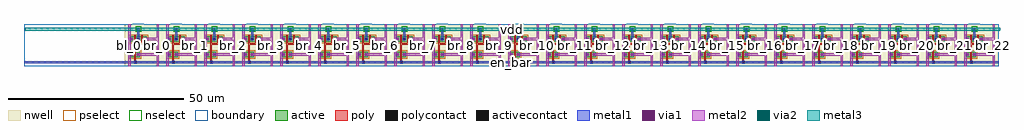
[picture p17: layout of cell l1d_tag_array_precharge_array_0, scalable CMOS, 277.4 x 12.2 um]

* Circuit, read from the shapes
.subckt l1d_tag_array_precharge_array_0 bl_0 bl_1 bl_10 bl_11 bl_12 bl_13 bl_14 bl_15 bl_16 bl_17 bl_18 bl_19 bl_2 bl_20 bl_21 bl_22 bl_3 bl_4 bl_5 bl_6 bl_7 bl_8 bl_9 br_0 br_1 br_10 br_11 br_12 br_13 br_14 br_15 br_16 br_17 br_18 br_19 br_2 br_20 br_21 br_22 br_3 br_4 br_5 br_6 br_7 br_8 br_9 en_bar vdd
M1 br_0 en_bar bl_0 vdd pfet w=1.6u l=0.4u
M2 vdd en_bar bl_0 vdd pfet w=1.6u l=0.4u
M3 br_0 en_bar vdd vdd pfet w=1.6u l=0.4u
M4 br_1 en_bar bl_1 vdd pfet w=1.6u l=0.4u
M5 vdd en_bar bl_1 vdd pfet w=1.6u l=0.4u
M6 br_1 en_bar vdd vdd pfet w=1.6u l=0.4u
M7 br_2 en_bar bl_2 vdd pfet w=1.6u l=0.4u
M8 vdd en_bar bl_2 vdd pfet w=1.6u l=0.4u
M9 br_2 en_bar vdd vdd pfet w=1.6u l=0.4u
M10 br_3 en_bar bl_3 vdd pfet w=1.6u l=0.4u
M11 vdd en_bar bl_3 vdd pfet w=1.6u l=0.4u
M12 br_3 en_bar vdd vdd pfet w=1.6u l=0.4u
M13 br_4 en_bar bl_4 vdd pfet w=1.6u l=0.4u
M14 vdd en_bar bl_4 vdd pfet w=1.6u l=0.4u
M15 br_4 en_bar vdd vdd pfet w=1.6u l=0.4u
M16 br_5 en_bar bl_5 vdd pfet w=1.6u l=0.4u
M17 vdd en_bar bl_5 vdd pfet w=1.6u l=0.4u
M18 br_5 en_bar vdd vdd pfet w=1.6u l=0.4u
M19 br_6 en_bar bl_6 vdd pfet w=1.6u l=0.4u
M20 vdd en_bar bl_6 vdd pfet w=1.6u l=0.4u
M21 br_6 en_bar vdd vdd pfet w=1.6u l=0.4u
M22 br_7 en_bar bl_7 vdd pfet w=1.6u l=0.4u
M23 vdd en_bar bl_7 vdd pfet w=1.6u l=0.4u
M24 br_7 en_bar vdd vdd pfet w=1.6u l=0.4u
M25 br_8 en_bar bl_8 vdd pfet w=1.6u l=0.4u
M26 vdd en_bar bl_8 vdd pfet w=1.6u l=0.4u
M27 br_8 en_bar vdd vdd pfet w=1.6u l=0.4u
M28 br_9 en_bar bl_9 vdd pfet w=1.6u l=0.4u
M29 vdd en_bar bl_9 vdd pfet w=1.6u l=0.4u
M30 br_9 en_bar vdd vdd pfet w=1.6u l=0.4u
M31 br_10 en_bar bl_10 vdd pfet w=1.6u l=0.4u
M32 vdd en_bar bl_10 vdd pfet w=1.6u l=0.4u
M33 br_10 en_bar vdd vdd pfet w=1.6u l=0.4u
M34 br_11 en_bar bl_11 vdd pfet w=1.6u l=0.4u
M35 vdd en_bar bl_11 vdd pfet w=1.6u l=0.4u
M36 br_11 en_bar vdd vdd pfet w=1.6u l=0.4u
M37 br_12 en_bar bl_12 vdd pfet w=1.6u l=0.4u
M38 vdd en_bar bl_12 vdd pfet w=1.6u l=0.4u
M39 br_12 en_bar vdd vdd pfet w=1.6u l=0.4u
M40 br_13 en_bar bl_13 vdd pfet w=1.6u l=0.4u
M41 vdd en_bar bl_13 vdd pfet w=1.6u l=0.4u
M42 br_13 en_bar vdd vdd pfet w=1.6u l=0.4u
M43 br_14 en_bar bl_14 vdd pfet w=1.6u l=0.4u
M44 vdd en_bar bl_14 vdd pfet w=1.6u l=0.4u
M45 br_14 en_bar vdd vdd pfet w=1.6u l=0.4u
M46 br_15 en_bar bl_15 vdd pfet w=1.6u l=0.4u
M47 vdd en_bar bl_15 vdd pfet w=1.6u l=0.4u
M48 br_15 en_bar vdd vdd pfet w=1.6u l=0.4u
M49 br_16 en_bar bl_16 vdd pfet w=1.6u l=0.4u
M50 vdd en_bar bl_16 vdd pfet w=1.6u l=0.4u
M51 br_16 en_bar vdd vdd pfet w=1.6u l=0.4u
M52 br_17 en_bar bl_17 vdd pfet w=1.6u l=0.4u
M53 vdd en_bar bl_17 vdd pfet w=1.6u l=0.4u
M54 br_17 en_bar vdd vdd pfet w=1.6u l=0.4u
M55 br_18 en_bar bl_18 vdd pfet w=1.6u l=0.4u
M56 vdd en_bar bl_18 vdd pfet w=1.6u l=0.4u
M57 br_18 en_bar vdd vdd pfet w=1.6u l=0.4u
M58 br_19 en_bar bl_19 vdd pfet w=1.6u l=0.4u
M59 vdd en_bar bl_19 vdd pfet w=1.6u l=0.4u
M60 br_19 en_bar vdd vdd pfet w=1.6u l=0.4u
M61 br_20 en_bar bl_20 vdd pfet w=1.6u l=0.4u
M62 vdd en_bar bl_20 vdd pfet w=1.6u l=0.4u
M63 br_20 en_bar vdd vdd pfet w=1.6u l=0.4u
M64 br_21 en_bar bl_21 vdd pfet w=1.6u l=0.4u
M65 vdd en_bar bl_21 vdd pfet w=1.6u l=0.4u
M66 br_21 en_bar vdd vdd pfet w=1.6u l=0.4u
M67 br_22 en_bar bl_22 vdd pfet w=1.6u l=0.4u
M68 vdd en_bar bl_22 vdd pfet w=1.6u l=0.4u
M69 br_22 en_bar vdd vdd pfet w=1.6u l=0.4u
.ends

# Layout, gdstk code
import gdstk
lib = gdstk.Library(unit=1e-6, precision=1e-09)
def R(c, l, rs):  # rectangles x0, y0, x1, y1
    for r in rs: c.add(gdstk.rectangle(r[:2], r[2:], *l))
nwell = (42, 0)
active = (43, 0)
pselect = (44, 0)
nselect = (45, 0)
poly = (46, 0)
polycontact = (47, 0)
activecontact = (48, 0)
metal1 = (49, 0)
via1 = (50, 0)
metal2 = (51, 0)
via2 = (61, 0)
metal3 = (62, 0)
boundary = (63, 0)

l1d_tag_array_contact_11 = lib.new_cell('l1d_tag_array_contact_11')
R(l1d_tag_array_contact_11, nwell, [(-1.2,-1.2,2,2)])
R(l1d_tag_array_contact_11, active, [(0,0,0.8,0.8)])
R(l1d_tag_array_contact_11, pselect, [(-0.4,-0.4,1.2,1.2)])
R(l1d_tag_array_contact_11, activecontact, [(0.2,0.2,0.6,0.6)])
R(l1d_tag_array_contact_11, metal1, [(0,0,0.8,0.8)])
R(l1d_tag_array_contact_11, boundary, [(-1.2,-1.2,2,2)])

l1d_tag_array_pmos_m1_w1 = lib.new_cell('l1d_tag_array_pmos_m1_w1_600_sm1_dm1')
R(l1d_tag_array_pmos_m1_w1, nwell, [(-1.2,-1.2,4,2.8)])
R(l1d_tag_array_pmos_m1_w1, active, [(0,0,2.8,1.6)])
R(l1d_tag_array_pmos_m1_w1, pselect, [(-0.4,-0.4,3.2,2)])
R(l1d_tag_array_pmos_m1_w1, poly, [(1.2,-0.4,1.6,2), (1.2,-0.4,1.6,2)])
R(l1d_tag_array_pmos_m1_w1, metal1, [(0,0.4,0.8,1.2), (2,0.4,2.8,1.2)])
R(l1d_tag_array_pmos_m1_w1, boundary, [(-1.2,-1.2,4,2.8)])
l1d_tag_array_pmos_m1_w1.add(gdstk.Reference(l1d_tag_array_contact_11, (0,0.4)))
l1d_tag_array_pmos_m1_w1.add(gdstk.Reference(l1d_tag_array_contact_11, (2,0.4)))
l1d_tag_array_pmos_m1_w1.add(gdstk.Label('G', (1.4,0.8), layer=46, texttype=0))
l1d_tag_array_pmos_m1_w1.add(gdstk.Label('S', (0.4,0.8), layer=49, texttype=0))
l1d_tag_array_pmos_m1_w1.add(gdstk.Label('D', (2.4,0.8), layer=49, texttype=0))

l1d_tag_array_contact_14 = lib.new_cell('l1d_tag_array_contact_14')
R(l1d_tag_array_contact_14, poly, [(0,0,0.8,0.8)])
R(l1d_tag_array_contact_14, polycontact, [(0.2,0.2,0.6,0.6)])
R(l1d_tag_array_contact_14, metal1, [(0,0,0.8,0.8)])
R(l1d_tag_array_contact_14, boundary, [(0,0,0.8,0.8)])

l1d_tag_array_contact_22 = lib.new_cell('l1d_tag_array_contact_22')
R(l1d_tag_array_contact_22, nwell, [(-1.2,-1.2,2,2)])
R(l1d_tag_array_contact_22, active, [(0,0,0.8,0.8)])
R(l1d_tag_array_contact_22, nselect, [(-0.4,-0.4,1.2,1.2)])
R(l1d_tag_array_contact_22, activecontact, [(0.2,0.2,0.6,0.6)])
R(l1d_tag_array_contact_22, metal1, [(0,0,0.8,0.8)])
R(l1d_tag_array_contact_22, boundary, [(-1.2,-1.2,2,2)])

l1d_tag_array_contact_17 = lib.new_cell('l1d_tag_array_contact_17')
R(l1d_tag_array_contact_17, metal1, [(0,0,0.8,0.8)])
R(l1d_tag_array_contact_17, via1, [(0.2,0.2,0.6,0.6)])
R(l1d_tag_array_contact_17, metal2, [(0,0,0.8,0.8)])
R(l1d_tag_array_contact_17, boundary, [(0,0,0.8,0.8)])

l1d_tag_array_contact_23 = lib.new_cell('l1d_tag_array_contact_23')
R(l1d_tag_array_contact_23, metal1, [(0,0,0.8,0.8)])
R(l1d_tag_array_contact_23, via1, [(0.2,0.2,0.6,0.6)])
R(l1d_tag_array_contact_23, metal2, [(0,0,0.8,0.8)])
R(l1d_tag_array_contact_23, boundary, [(0,0,0.8,0.8)])

l1d_tag_array_precharge_ = lib.new_cell('l1d_tag_array_precharge_1')
R(l1d_tag_array_precharge_, nwell, [(0,0,10.8,12)])
R(l1d_tag_array_precharge_, poly, [(2.7,1,3.1,1.4), (2.9,1,3.1,1.4), (2.7,1.2,3.1,2.2), (2.7,4.6,3.1,6.6), (2.7,6.2,5.1,6.6)])
R(l1d_tag_array_precharge_, metal1, [(0,0.9,10.8,1.5), (3.6,7.8,4.2,10.6), (3.6,10.3,4.2,10.9)])
R(l1d_tag_array_precharge_, metal2, [(1.1,0,1.7,12), (1.1,0,1.7,12), (9.1,0,9.7,12), (9.1,0,9.7,12), (1.4,3,1.9,3.8), (3.9,3,9.4,3.8), (1.4,7.4,1.9,8.2), (5.9,7.4,9.4,8.2)])
R(l1d_tag_array_precharge_, boundary, [(0,0,10.8,12)])
l1d_tag_array_precharge_.add(gdstk.Reference(l1d_tag_array_pmos_m1_w1, (1.5,2.6)))
l1d_tag_array_precharge_.add(gdstk.Reference(l1d_tag_array_pmos_m1_w1, (1.5,7)))
l1d_tag_array_precharge_.add(gdstk.Reference(l1d_tag_array_pmos_m1_w1, (3.5,7)))
l1d_tag_array_precharge_.add(gdstk.Reference(l1d_tag_array_contact_14, (2.7,0.8)))
l1d_tag_array_precharge_.add(gdstk.Reference(l1d_tag_array_contact_22, (3.5,10.2)))
l1d_tag_array_precharge_.add(gdstk.Reference(l1d_tag_array_contact_17, (3.5,10.2)))
l1d_tag_array_precharge_.add(gdstk.Reference(l1d_tag_array_contact_23, (1.5,3)))
l1d_tag_array_precharge_.add(gdstk.Reference(l1d_tag_array_contact_23, (3.5,3)))
l1d_tag_array_precharge_.add(gdstk.Reference(l1d_tag_array_contact_23, (1.5,7.4)))
l1d_tag_array_precharge_.add(gdstk.Reference(l1d_tag_array_contact_23, (5.5,7.4)))
l1d_tag_array_precharge_.add(gdstk.Label('en_bar', (5.4,1.2), layer=49, texttype=0))
l1d_tag_array_precharge_.add(gdstk.Label('vdd', (3.9,10.6), layer=49, texttype=0))
l1d_tag_array_precharge_.add(gdstk.Label('bl', (1.4,6), layer=51, texttype=0))
l1d_tag_array_precharge_.add(gdstk.Label('br', (9.4,6), layer=51, texttype=0))

l1d_tag_array_contact_18 = lib.new_cell('l1d_tag_array_contact_18')
R(l1d_tag_array_contact_18, metal2, [(0,0,0.8,0.8)])
R(l1d_tag_array_contact_18, via2, [(0.2,0.2,0.6,0.6)])
R(l1d_tag_array_contact_18, metal3, [(0,0,0.8,0.8)])
R(l1d_tag_array_contact_18, boundary, [(0,0,0.8,0.8)])

c_l1d_tag_array_precharge_ = lib.new_cell('l1d_tag_array_precharge_array_0')
R(c_l1d_tag_array_precharge_, metal1, [(0,0.9,277,1.5), (33.7,0.9,34.3,1.5), (33.7,0.9,34.3,1.5), (44.5,0.9,45.1,1.5), (44.5,0.9,45.1,1.5), (55.3,0.9,55.9,1.5), (55.3,0.9,55.9,1.5), (66.1,0.9,66.7,1.5), (66.1,0.9,66.7,1.5), (76.9,0.9,77.5,1.5), (76.9,0.9,77.5,1.5), (87.7,0.9,88.3,1.5), (87.7,0.9,88.3,1.5), (98.5,0.9,99.1,1.5), (98.5,0.9,99.1,1.5), (109.3,0.9,109.9,1.5), (109.3,0.9,109.9,1.5), (120.1,0.9,120.7,1.5), (120.1,0.9,120.7,1.5), (130.9,0.9,131.5,1.5), (130.9,0.9,131.5,1.5), (141.7,0.9,142.3,1.5), (141.7,0.9,142.3,1.5), (152.5,0.9,153.1,1.5), (152.5,0.9,153.1,1.5), (163.3,0.9,163.9,1.5), (163.3,0.9,163.9,1.5), (174.1,0.9,174.7,1.5), (174.1,0.9,174.7,1.5), (184.9,0.9,185.5,1.5), (184.9,0.9,185.5,1.5), (195.7,0.9,196.3,1.5), (195.7,0.9,196.3,1.5), (206.5,0.9,207.1,1.5), (206.5,0.9,207.1,1.5), (217.3,0.9,217.9,1.5), (217.3,0.9,217.9,1.5), (228.1,0.9,228.7,1.5), (228.1,0.9,228.7,1.5), (238.9,0.9,239.5,1.5), (238.9,0.9,239.5,1.5), (249.7,0.9,250.3,1.5), (249.7,0.9,250.3,1.5), (260.5,0.9,261.1,1.5), (260.5,0.9,261.1,1.5), (271.3,0.9,271.9,1.5), (271.3,0.9,271.9,1.5)])
R(c_l1d_tag_array_precharge_, metal2, [(29.7,0,30.3,12), (37.7,0,38.3,12), (40.5,0,41.1,12), (48.5,0,49.1,12), (51.3,0,51.9,12), (59.3,0,59.9,12), (62.1,0,62.7,12), (70.1,0,70.7,12), (72.9,0,73.5,12), (80.9,0,81.5,12), (83.7,0,84.3,12), (91.7,0,92.3,12), (94.5,0,95.1,12), (102.5,0,103.1,12), (105.3,0,105.9,12), (113.3,0,113.9,12), (116.1,0,116.7,12), (124.1,0,124.7,12), (126.9,0,127.5,12), (134.9,0,135.5,12), (137.7,0,138.3,12), (145.7,0,146.3,12), (148.5,0,149.1,12), (156.5,0,157.1,12), (159.3,0,159.9,12), (167.3,0,167.9,12), (170.1,0,170.7,12), (178.1,0,178.7,12), (180.9,0,181.5,12), (188.9,0,189.5,12), (191.7,0,192.3,12), (199.7,0,200.3,12), (202.5,0,203.1,12), (210.5,0,211.1,12), (213.3,0,213.9,12), (221.3,0,221.9,12), (224.1,0,224.7,12), (232.1,0,232.7,12), (234.9,0,235.5,12), (242.9,0,243.5,12), (245.7,0,246.3,12), (253.7,0,254.3,12), (256.5,0,257.1,12), (264.5,0,265.1,12), (267.3,0,267.9,12), (275.3,0,275.9,12)])
R(c_l1d_tag_array_precharge_, metal3, [(0.4,10.2,277.4,11)])
R(c_l1d_tag_array_precharge_, boundary, [(0,0,277,12)])
c_l1d_tag_array_precharge_.add(gdstk.Reference(l1d_tag_array_precharge_, (28.6,0)))
c_l1d_tag_array_precharge_.add(gdstk.Reference(l1d_tag_array_precharge_, (39.4,0)))
c_l1d_tag_array_precharge_.add(gdstk.Reference(l1d_tag_array_precharge_, (50.2,0)))
c_l1d_tag_array_precharge_.add(gdstk.Reference(l1d_tag_array_precharge_, (61,0)))
c_l1d_tag_array_precharge_.add(gdstk.Reference(l1d_tag_array_precharge_, (71.8,0)))
c_l1d_tag_array_precharge_.add(gdstk.Reference(l1d_tag_array_precharge_, (82.6,0)))
c_l1d_tag_array_precharge_.add(gdstk.Reference(l1d_tag_array_precharge_, (93.4,0)))
c_l1d_tag_array_precharge_.add(gdstk.Reference(l1d_tag_array_precharge_, (104.2,0)))
c_l1d_tag_array_precharge_.add(gdstk.Reference(l1d_tag_array_precharge_, (115,0)))
c_l1d_tag_array_precharge_.add(gdstk.Reference(l1d_tag_array_precharge_, (125.8,0)))
c_l1d_tag_array_precharge_.add(gdstk.Reference(l1d_tag_array_precharge_, (136.6,0)))
c_l1d_tag_array_precharge_.add(gdstk.Reference(l1d_tag_array_precharge_, (147.4,0)))
c_l1d_tag_array_precharge_.add(gdstk.Reference(l1d_tag_array_precharge_, (158.2,0)))
c_l1d_tag_array_precharge_.add(gdstk.Reference(l1d_tag_array_precharge_, (169,0)))
c_l1d_tag_array_precharge_.add(gdstk.Reference(l1d_tag_array_precharge_, (179.8,0)))
c_l1d_tag_array_precharge_.add(gdstk.Reference(l1d_tag_array_precharge_, (190.6,0)))
c_l1d_tag_array_precharge_.add(gdstk.Reference(l1d_tag_array_precharge_, (201.4,0)))
c_l1d_tag_array_precharge_.add(gdstk.Reference(l1d_tag_array_precharge_, (212.2,0)))
c_l1d_tag_array_precharge_.add(gdstk.Reference(l1d_tag_array_precharge_, (223,0)))
c_l1d_tag_array_precharge_.add(gdstk.Reference(l1d_tag_array_precharge_, (233.8,0)))
c_l1d_tag_array_precharge_.add(gdstk.Reference(l1d_tag_array_precharge_, (244.6,0)))
c_l1d_tag_array_precharge_.add(gdstk.Reference(l1d_tag_array_precharge_, (255.4,0)))
c_l1d_tag_array_precharge_.add(gdstk.Reference(l1d_tag_array_precharge_, (266.2,0)))
c_l1d_tag_array_precharge_.add(gdstk.Reference(l1d_tag_array_contact_17, (32.1,10.2)))
c_l1d_tag_array_precharge_.add(gdstk.Reference(l1d_tag_array_contact_18, (32.1,10.2)))
c_l1d_tag_array_precharge_.add(gdstk.Reference(l1d_tag_array_contact_17, (42.9,10.2)))
c_l1d_tag_array_precharge_.add(gdstk.Reference(l1d_tag_array_contact_18, (42.9,10.2)))
c_l1d_tag_array_precharge_.add(gdstk.Reference(l1d_tag_array_contact_17, (53.7,10.2)))
c_l1d_tag_array_precharge_.add(gdstk.Reference(l1d_tag_array_contact_18, (53.7,10.2)))
c_l1d_tag_array_precharge_.add(gdstk.Reference(l1d_tag_array_contact_17, (64.5,10.2)))
c_l1d_tag_array_precharge_.add(gdstk.Reference(l1d_tag_array_contact_18, (64.5,10.2)))
c_l1d_tag_array_precharge_.add(gdstk.Reference(l1d_tag_array_contact_17, (75.3,10.2)))
c_l1d_tag_array_precharge_.add(gdstk.Reference(l1d_tag_array_contact_18, (75.3,10.2)))
c_l1d_tag_array_precharge_.add(gdstk.Reference(l1d_tag_array_contact_17, (86.1,10.2)))
c_l1d_tag_array_precharge_.add(gdstk.Reference(l1d_tag_array_contact_18, (86.1,10.2)))
c_l1d_tag_array_precharge_.add(gdstk.Reference(l1d_tag_array_contact_17, (96.9,10.2)))
c_l1d_tag_array_precharge_.add(gdstk.Reference(l1d_tag_array_contact_18, (96.9,10.2)))
c_l1d_tag_array_precharge_.add(gdstk.Reference(l1d_tag_array_contact_17, (107.7,10.2)))
c_l1d_tag_array_precharge_.add(gdstk.Reference(l1d_tag_array_contact_18, (107.7,10.2)))
c_l1d_tag_array_precharge_.add(gdstk.Reference(l1d_tag_array_contact_17, (118.5,10.2)))
c_l1d_tag_array_precharge_.add(gdstk.Reference(l1d_tag_array_contact_18, (118.5,10.2)))
c_l1d_tag_array_precharge_.add(gdstk.Reference(l1d_tag_array_contact_17, (129.3,10.2)))
c_l1d_tag_array_precharge_.add(gdstk.Reference(l1d_tag_array_contact_18, (129.3,10.2)))
c_l1d_tag_array_precharge_.add(gdstk.Reference(l1d_tag_array_contact_17, (140.1,10.2)))
c_l1d_tag_array_precharge_.add(gdstk.Reference(l1d_tag_array_contact_18, (140.1,10.2)))
c_l1d_tag_array_precharge_.add(gdstk.Reference(l1d_tag_array_contact_17, (150.9,10.2)))
c_l1d_tag_array_precharge_.add(gdstk.Reference(l1d_tag_array_contact_18, (150.9,10.2)))
c_l1d_tag_array_precharge_.add(gdstk.Reference(l1d_tag_array_contact_17, (161.7,10.2)))
c_l1d_tag_array_precharge_.add(gdstk.Reference(l1d_tag_array_contact_18, (161.7,10.2)))
c_l1d_tag_array_precharge_.add(gdstk.Reference(l1d_tag_array_contact_17, (172.5,10.2)))
c_l1d_tag_array_precharge_.add(gdstk.Reference(l1d_tag_array_contact_18, (172.5,10.2)))
c_l1d_tag_array_precharge_.add(gdstk.Reference(l1d_tag_array_contact_17, (183.3,10.2)))
c_l1d_tag_array_precharge_.add(gdstk.Reference(l1d_tag_array_contact_18, (183.3,10.2)))
c_l1d_tag_array_precharge_.add(gdstk.Reference(l1d_tag_array_contact_17, (194.1,10.2)))
c_l1d_tag_array_precharge_.add(gdstk.Reference(l1d_tag_array_contact_18, (194.1,10.2)))
c_l1d_tag_array_precharge_.add(gdstk.Reference(l1d_tag_array_contact_17, (204.9,10.2)))
c_l1d_tag_array_precharge_.add(gdstk.Reference(l1d_tag_array_contact_18, (204.9,10.2)))
c_l1d_tag_array_precharge_.add(gdstk.Reference(l1d_tag_array_contact_17, (215.7,10.2)))
c_l1d_tag_array_precharge_.add(gdstk.Reference(l1d_tag_array_contact_18, (215.7,10.2)))
c_l1d_tag_array_precharge_.add(gdstk.Reference(l1d_tag_array_contact_17, (226.5,10.2)))
c_l1d_tag_array_precharge_.add(gdstk.Reference(l1d_tag_array_contact_18, (226.5,10.2)))
c_l1d_tag_array_precharge_.add(gdstk.Reference(l1d_tag_array_contact_17, (237.3,10.2)))
c_l1d_tag_array_precharge_.add(gdstk.Reference(l1d_tag_array_contact_18, (237.3,10.2)))
c_l1d_tag_array_precharge_.add(gdstk.Reference(l1d_tag_array_contact_17, (248.1,10.2)))
c_l1d_tag_array_precharge_.add(gdstk.Reference(l1d_tag_array_contact_18, (248.1,10.2)))
c_l1d_tag_array_precharge_.add(gdstk.Reference(l1d_tag_array_contact_17, (258.9,10.2)))
c_l1d_tag_array_precharge_.add(gdstk.Reference(l1d_tag_array_contact_18, (258.9,10.2)))
c_l1d_tag_array_precharge_.add(gdstk.Reference(l1d_tag_array_contact_17, (269.7,10.2)))
c_l1d_tag_array_precharge_.add(gdstk.Reference(l1d_tag_array_contact_18, (269.7,10.2)))
c_l1d_tag_array_precharge_.add(gdstk.Label('en_bar', (138.5,1.2), layer=49, texttype=0))
c_l1d_tag_array_precharge_.add(gdstk.Label('bl_0', (30,6), layer=51, texttype=0))
c_l1d_tag_array_precharge_.add(gdstk.Label('br_0', (38,6), layer=51, texttype=0))
c_l1d_tag_array_precharge_.add(gdstk.Label('bl_1', (40.8,6), layer=51, texttype=0))
c_l1d_tag_array_precharge_.add(gdstk.Label('br_1', (48.8,6), layer=51, texttype=0))
c_l1d_tag_array_precharge_.add(gdstk.Label('bl_2', (51.6,6), layer=51, texttype=0))
c_l1d_tag_array_precharge_.add(gdstk.Label('br_2', (59.6,6), layer=51, texttype=0))
c_l1d_tag_array_precharge_.add(gdstk.Label('bl_3', (62.4,6), layer=51, texttype=0))
c_l1d_tag_array_precharge_.add(gdstk.Label('br_3', (70.4,6), layer=51, texttype=0))
c_l1d_tag_array_precharge_.add(gdstk.Label('bl_4', (73.2,6), layer=51, texttype=0))
c_l1d_tag_array_precharge_.add(gdstk.Label('br_4', (81.2,6), layer=51, texttype=0))
c_l1d_tag_array_precharge_.add(gdstk.Label('bl_5', (84,6), layer=51, texttype=0))
c_l1d_tag_array_precharge_.add(gdstk.Label('br_5', (92,6), layer=51, texttype=0))
c_l1d_tag_array_precharge_.add(gdstk.Label('bl_6', (94.8,6), layer=51, texttype=0))
c_l1d_tag_array_precharge_.add(gdstk.Label('br_6', (102.8,6), layer=51, texttype=0))
c_l1d_tag_array_precharge_.add(gdstk.Label('bl_7', (105.6,6), layer=51, texttype=0))
c_l1d_tag_array_precharge_.add(gdstk.Label('br_7', (113.6,6), layer=51, texttype=0))
c_l1d_tag_array_precharge_.add(gdstk.Label('bl_8', (116.4,6), layer=51, texttype=0))
c_l1d_tag_array_precharge_.add(gdstk.Label('br_8', (124.4,6), layer=51, texttype=0))
c_l1d_tag_array_precharge_.add(gdstk.Label('bl_9', (127.2,6), layer=51, texttype=0))
c_l1d_tag_array_precharge_.add(gdstk.Label('br_9', (135.2,6), layer=51, texttype=0))
c_l1d_tag_array_precharge_.add(gdstk.Label('bl_10', (138,6), layer=51, texttype=0))
c_l1d_tag_array_precharge_.add(gdstk.Label('br_10', (146,6), layer=51, texttype=0))
c_l1d_tag_array_precharge_.add(gdstk.Label('bl_11', (148.8,6), layer=51, texttype=0))
c_l1d_tag_array_precharge_.add(gdstk.Label('br_11', (156.8,6), layer=51, texttype=0))
c_l1d_tag_array_precharge_.add(gdstk.Label('bl_12', (159.6,6), layer=51, texttype=0))
c_l1d_tag_array_precharge_.add(gdstk.Label('br_12', (167.6,6), layer=51, texttype=0))
c_l1d_tag_array_precharge_.add(gdstk.Label('bl_13', (170.4,6), layer=51, texttype=0))
c_l1d_tag_array_precharge_.add(gdstk.Label('br_13', (178.4,6), layer=51, texttype=0))
c_l1d_tag_array_precharge_.add(gdstk.Label('bl_14', (181.2,6), layer=51, texttype=0))
c_l1d_tag_array_precharge_.add(gdstk.Label('br_14', (189.2,6), layer=51, texttype=0))
c_l1d_tag_array_precharge_.add(gdstk.Label('bl_15', (192,6), layer=51, texttype=0))
c_l1d_tag_array_precharge_.add(gdstk.Label('br_15', (200,6), layer=51, texttype=0))
c_l1d_tag_array_precharge_.add(gdstk.Label('bl_16', (202.8,6), layer=51, texttype=0))
c_l1d_tag_array_precharge_.add(gdstk.Label('br_16', (210.8,6), layer=51, texttype=0))
c_l1d_tag_array_precharge_.add(gdstk.Label('bl_17', (213.6,6), layer=51, texttype=0))
c_l1d_tag_array_precharge_.add(gdstk.Label('br_17', (221.6,6), layer=51, texttype=0))
c_l1d_tag_array_precharge_.add(gdstk.Label('bl_18', (224.4,6), layer=51, texttype=0))
c_l1d_tag_array_precharge_.add(gdstk.Label('br_18', (232.4,6), layer=51, texttype=0))
c_l1d_tag_array_precharge_.add(gdstk.Label('bl_19', (235.2,6), layer=51, texttype=0))
c_l1d_tag_array_precharge_.add(gdstk.Label('br_19', (243.2,6), layer=51, texttype=0))
c_l1d_tag_array_precharge_.add(gdstk.Label('bl_20', (246,6), layer=51, texttype=0))
c_l1d_tag_array_precharge_.add(gdstk.Label('br_20', (254,6), layer=51, texttype=0))
c_l1d_tag_array_precharge_.add(gdstk.Label('bl_21', (256.8,6), layer=51, texttype=0))
c_l1d_tag_array_precharge_.add(gdstk.Label('br_21', (264.8,6), layer=51, texttype=0))
c_l1d_tag_array_precharge_.add(gdstk.Label('bl_22', (267.6,6), layer=51, texttype=0))
c_l1d_tag_array_precharge_.add(gdstk.Label('br_22', (275.6,6), layer=51, texttype=0))
c_l1d_tag_array_precharge_.add(gdstk.Label('vdd', (138.9,10.6), layer=62, texttype=0))

lib.write_gds('l1d_tag_array_precharge_array_0.gds')
